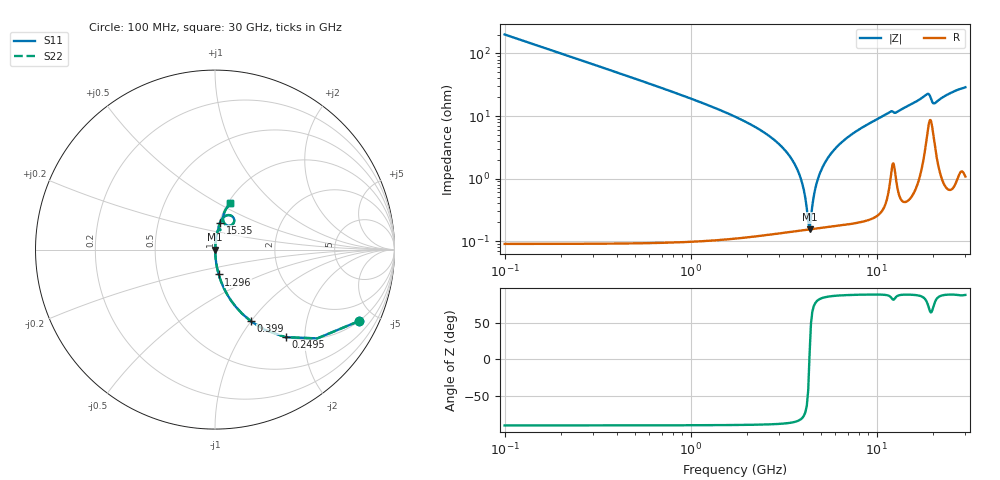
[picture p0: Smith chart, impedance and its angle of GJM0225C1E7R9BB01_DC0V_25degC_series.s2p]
!Murata Part Number: GJM0225C1E7R9BB01
!These Parameters are Measured in Series Mode Connection
!  o--ll--o
!Port1  Port2
!  o------o
!Operation Temp=25[degC], DC Bias Voltage=0[V]
!Freq. Start=100[MHz] Stop=30[GHz], 401[Steps]
!Data Generated on Feb 1, 2023
# Hz S RI R 50
!Freq.(Hz) S11(Real) S11(Imag) S21(Real) S21(Imag) S12(Real) S12(Imag) S22(Real) S22(Imag)
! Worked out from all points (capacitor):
!   401 points, 100 MHz to 30 GHz, reference 50 ohm
!   read as one part in series: C = 7.9 pF near 249.5 MHz
!   lowest |Z| = 155 mohm at 4.361 GHz (marker M1)
!   series resonance near 4.351 GHz, so ESL is about 170 pH
!   S11 on the Smith chart (normalised r, x): 100 MHz: 1.00, -4.03; 249.5 MHz: 1.00, -1.61; 399 MHz: 1.00, -1.00; 1.296 GHz: 1.00, -0.28; 15.35 GHz: 1.01, +0.31; 30 GHz: 1.02, +0.58
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1e8  0.802 -0.3982  0.198 0.3982  0.198 0.3982  0.802 -0.3982
2.495e8  0.3932 -0.4879  0.6068 0.4879  0.6068 0.4879  0.3932 -0.4879
3.99e8  0.2008 -0.3997  0.7992 0.3997  0.7992 0.3997  0.2008 -0.3997
6.98e8  0.074 -0.2601  0.926 0.2601  0.926 0.2601  0.074 -0.2601
1.296e9  0.0206 -0.1385  0.9794 0.1385  0.9794 0.1385  0.0206 -0.1385
2.86575e9  0.00287 -0.0395  0.9971 0.0395  0.9971 0.0395  0.00287 -0.0395
3.46375e9  0.00185 -0.0212  0.9981 0.0212  0.9981 0.0212  0.00185 -0.0212
3.91225e9  0.00157 -0.00981  0.9984 0.00981  0.9984 0.00981  0.00157 -0.00981
4.21125e9  0.00152 -0.00301  0.9985 0.00301  0.9985 0.00301  0.00152 -0.00301
4.36075e9  0.00153 0.000203  0.9985 -0.000203  0.9985 -0.000203  0.00153 0.000203
4.4355e9  0.00155 0.00177  0.9985 -0.00177  0.9985 -0.00177  0.00155 0.00177
4.7345e9  0.00164 0.00778  0.9984 -0.00778  0.9984 -0.00778  0.00164 0.00778
5.10825e9  0.00185 0.0148  0.9982 -0.0148  0.9982 -0.0148  0.00185 0.0148
5.781e9  0.00241 0.0265  0.9976 -0.0265  0.9976 -0.0265  0.00241 0.0265
6.75275e9  0.00357 0.0419  0.9964 -0.0419  0.9964 -0.0419  0.00357 0.0419
1.01165e10  0.0105 0.0886  0.9895 -0.0886  0.9895 -0.0886  0.0105 0.0886
1.505e10  0.0264 0.1454  0.9736 -0.1454  0.9736 -0.1454  0.0264 0.1454
1.5349e10  0.028 0.1495  0.972 -0.1495  0.972 -0.1495  0.028 0.1495
1.871275e10  0.0882 0.19  0.9118 -0.19  0.9118 -0.19  0.0882 0.19
2.005825e10  0.0727 0.1334  0.9273 -0.1334  0.9273 -0.1334  0.0727 0.1334
2.50665e10  0.0577 0.2195  0.9423 -0.2195  0.9423 -0.2195  0.0577 0.2195
3e10  0.0849 0.2607  0.9151 -0.2607  0.9151 -0.2607  0.0849 0.2607
